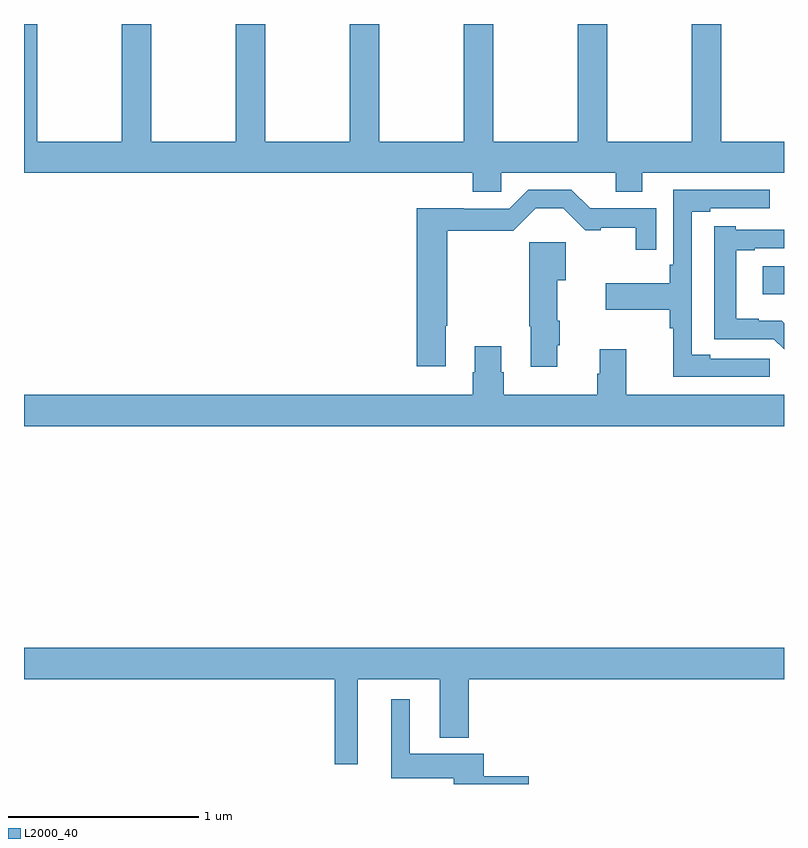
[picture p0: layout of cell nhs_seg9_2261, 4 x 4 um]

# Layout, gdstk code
import gdstk
lib = gdstk.Library(unit=1e-6, precision=1e-09)
def R(c, l, rs):  # rectangles x0, y0, x1, y1
    for r in rs: c.add(gdstk.rectangle(r[:2], r[2:], *l))
def P(c, l, *ps):  # polygons
    for p in ps: c.add(gdstk.Polygon(p, *l))
L2000_40 = (2000, 40)

nhs_seg9_2261 = lib.new_cell('nhs_seg9_2261')
R(nhs_seg9_2261, L2000_40, [(242.889,1233.078,243,1233.225)])
P(nhs_seg9_2261, L2000_40, [(242.254,1233.716),(243,1233.716),(243,1233.88),(242.67,1233.88),(242.67,1234.5),(242.515,1234.5),(242.515,1233.88),(242.07,1233.88),(242.07,1234.5),(241.915,1234.5),(241.915,1233.88),(241.47,1233.88),(241.47,1234.5),(241.315,1234.5),(241.315,1233.88),(240.87,1233.88),(240.87,1234.5),(240.715,1234.5),(240.715,1233.88),(240.27,1233.88),(240.27,1234.5),(240.115,1234.5),(240.115,1233.88),(239.67,1233.88),(239.67,1234.5),(239.515,1234.5),(239.515,1233.88),(239.07,1233.88),(239.07,1234.5),(239,1234.5),(239,1233.716),(241.361,1233.716),(241.361,1233.618),(241.512,1233.618),(241.512,1233.716),(242.114,1233.716),(242.114,1233.617),(242.254,1233.617)],
  [(241.219,1232.912),(241.227,1232.912),(241.227,1233.412),(241.576,1233.412),(241.694,1233.53),(241.839,1233.53),(241.954,1233.415),(242.035,1233.415),(242.035,1233.427),(242.22,1233.427),(242.22,1233.312),(242.328,1233.312),(242.328,1233.53),(241.979,1233.53),(241.881,1233.627),(241.653,1233.627),(241.554,1233.528),(241.315,1233.528),(241.315,1233.53),(241.067,1233.53),(241.067,1232.7),(241.219,1232.7)],
  [(242.926,1232.739),(242.611,1232.739),(242.611,1232.759),(242.514,1232.759),(242.514,1233.513),(242.611,1233.513),(242.611,1233.531),(242.926,1233.531),(242.926,1233.627),(242.418,1233.627),(242.418,1233.232),(242.398,1233.232),(242.398,1233.136),(242.061,1233.136),(242.061,1232.996),(242.398,1232.996),(242.398,1232.9),(242.416,1232.9),(242.416,1232.643),(242.926,1232.643)],
  [(243,1232.925),(242.987,1232.938),(242.868,1232.938),(242.868,1232.95),(242.749,1232.95),(242.749,1233.309),(242.845,1233.309),(242.845,1233.321),(243,1233.321),(243,1233.417),(242.745,1233.417),(242.745,1233.436),(242.633,1233.436),(242.633,1232.841),(242.946,1232.841),(243,1232.788)],
  [(241.807,1232.809),(241.82,1232.809),(241.82,1232.939),(241.807,1232.939),(241.807,1233.152),(241.852,1233.152),(241.852,1233.352),(241.66,1233.352),(241.66,1232.909),(241.667,1232.909),(241.667,1232.697),(241.807,1232.697)],
  [(243,1232.548),(242.17,1232.548),(242.17,1232.788),(242.03,1232.788),(242.03,1232.66),(242.018,1232.66),(242.018,1232.548),(241.526,1232.548),(241.526,1232.667),(241.513,1232.667),(241.513,1232.803),(241.373,1232.803),(241.373,1232.667),(241.361,1232.667),(241.361,1232.548),(239,1232.548),(239,1232.384),(243,1232.384)],
  [(240.757,1231.052),(241.187,1231.052),(241.187,1230.743),(241.34,1230.743),(241.34,1231.052),(243,1231.052),(243,1231.216),(239,1231.216),(239,1231.052),(240.636,1231.052),(240.636,1230.603),(240.757,1230.603)],
  [(241.657,1230.542),(241.421,1230.542),(241.421,1230.658),(241.03,1230.658),(241.03,1230.946),(240.932,1230.946),(240.932,1230.53),(241.262,1230.53),(241.262,1230.5),(241.657,1230.5)])

lib.write_gds('nhs_seg9_2261.gds')
